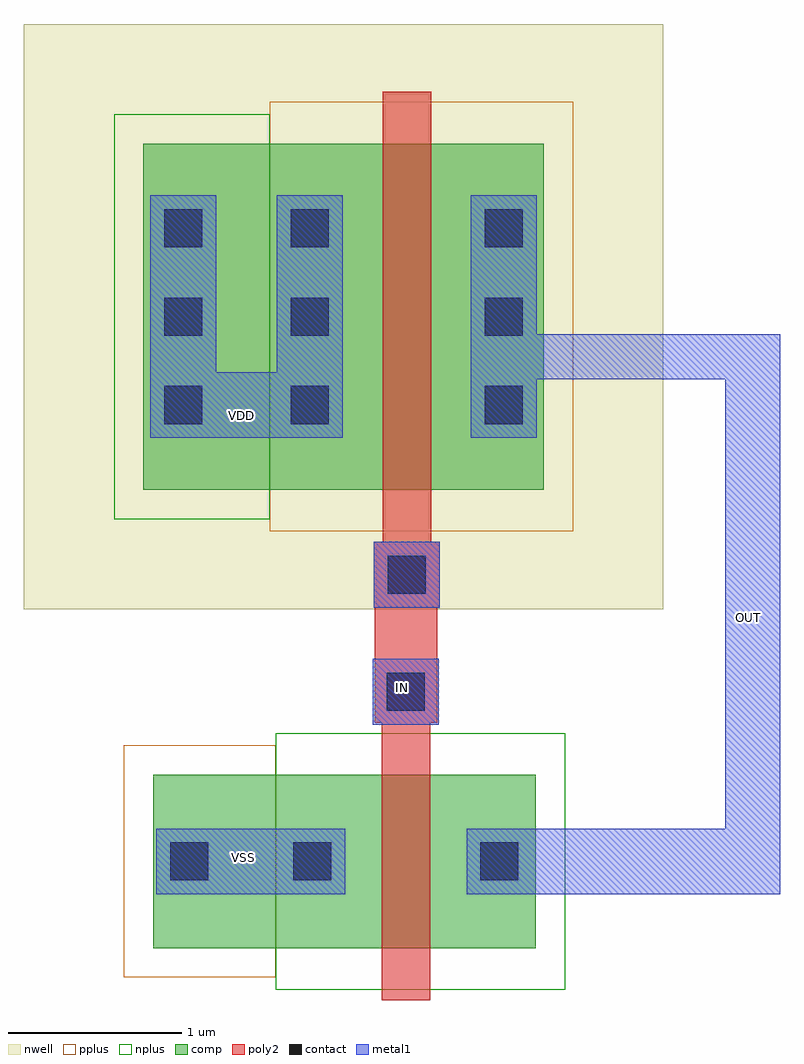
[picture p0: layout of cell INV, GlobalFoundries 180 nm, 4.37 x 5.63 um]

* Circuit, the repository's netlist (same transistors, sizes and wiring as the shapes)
** sch_path: /foss/designs/CAD2/INV.sch
.subckt INV vdd IN OUT vss
*.PININFO IN:I OUT:O vss:B vdd:B
M1 OUT IN vss vss nfet_03v3 L=0.28u W=1u nf=1 m=1
M2 OUT IN vdd vdd pfet_03v3 L=0.28u W=2u nf=1 m=1
.ends

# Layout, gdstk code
from math import pi, radians
import gdstk
lib = gdstk.Library(unit=1e-6, precision=5e-09)
def R(c, l, rs):  # rectangles x0, y0, x1, y1
    for r in rs: c.add(gdstk.rectangle(r[:2], r[2:], *l))
def A(c, l, x, y, w, h, nx, ny, dx, dy):  # array of equal rectangles
    R(c, l, [(x+i*dx, y+j*dy, x+i*dx+w, y+j*dy+h) for i in range(nx) for j in range(ny)])
nwell = (21, 0)
comp = (22, 0)
poly2 = (30, 0)
pplus = (31, 0)
nplus = (32, 0)
contact = (33, 0)
metal1 = (34, 0)

pfet = lib.new_cell('pfet')
R(pfet, nwell, [(-1.15,-0.69,2.54,2.69)])
R(pfet, comp, [(-0.46,0,0,2), (0,0,0.66,2), (0.66,0,1.12,2), (1.12,0,1.85,2)])
R(pfet, poly2, [(0.19,-0.3,0.47,2.3), (0.14,2.3,0.52,2.68)])
R(pfet, pplus, [(-0.63,-0.24,1.12,2.24)])
R(pfet, nplus, [(1.12,-0.17,2.02,2.17)])
A(pfet, contact, -0.34, 0.38, 0.22, 0.22, 1, 3, 0, 0.51)
A(pfet, contact, 0.78, 0.38, 0.22, 0.22, 1, 3, 0, 0.51)
A(pfet, contact, 1.51, 0.38, 0.22, 0.22, 1, 3, 0, 0.51)
R(pfet, contact, [(0.22,2.38,0.44,2.6)])
R(pfet, metal1, [(-0.42,0.3,-0.04,1.7), (0.7,0.3,1.08,1.7), (1.43,0.3,1.81,1.7), (0.14,2.3,0.52,2.68)])

nfet = lib.new_cell('nfet')
R(nfet, comp, [(-0.42,0,0,1), (0,0,0.66,1), (0.66,0,1.08,1), (1.08,0,1.79,1)])
R(nfet, poly2, [(0.19,-0.3,0.47,1.3), (0.15,1.3,0.51,1.66)])
R(nfet, pplus, [(1.08,-0.17,1.96,1.17)])
R(nfet, nplus, [(-0.59,-0.24,1.08,1.24)])
R(nfet, contact, [(-0.32,0.39,-0.1,0.61), (0.76,0.39,0.98,0.61), (1.47,0.39,1.69,0.61), (0.22,1.37,0.44,1.59)])
R(nfet, metal1, [(-0.4,0.31,-0.02,0.69), (0.68,0.31,1.06,0.69), (1.39,0.31,1.77,0.69), (0.14,1.29,0.52,1.67)])

inv = lib.new_cell('INV')
R(inv, poly2, [(-0.435,1.72,-0.075,2.405)])
R(inv, metal1, [(-1.315,0.37,-0.985,0.75), (0.475,0.37,1.905,0.75), (1.59,0.37,1.905,3.605), (-1.35,3.005,-1,3.385), (0.12,3.345,1.905,3.605)])
inv.add(gdstk.Reference(pfet, (0.08,4.705), rotation=pi))
inv.add(gdstk.Reference(nfet, (0.075,0.06), rotation=pi, x_reflection=True))
inv.add(gdstk.Label('VDD', (-1.205,3.135), layer=34, texttype=10))
inv.add(gdstk.Label('VSS', (-1.19,0.58), layer=34, texttype=10))
inv.add(gdstk.Label('IN', (-0.275,1.565), layer=34, texttype=10))
inv.add(gdstk.Label('OUT', (1.725,1.97), layer=34, texttype=10))

lib.write_gds('INV.gds')
